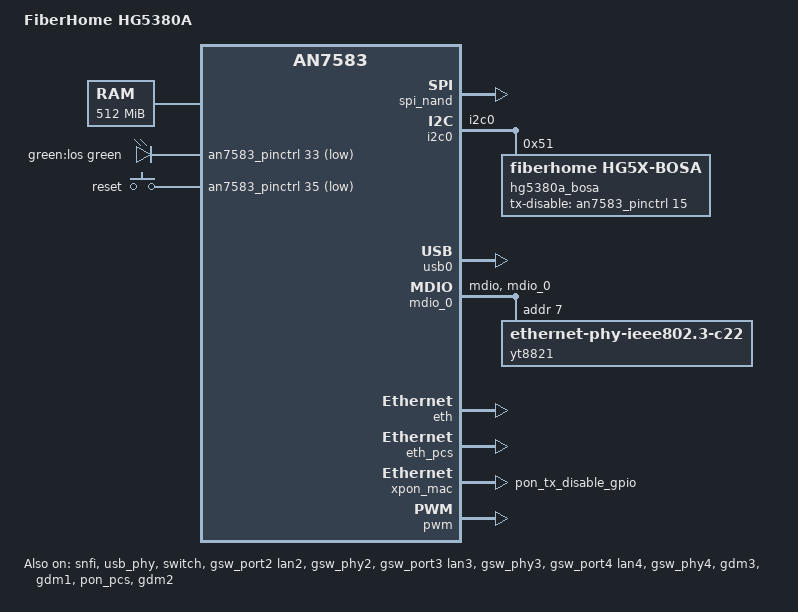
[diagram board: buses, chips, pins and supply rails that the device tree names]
// SPDX-License-Identifier: GPL-2.0-only OR MIT
/*
 * FiberHome HG5380A — Airoha AN7583
 *
 * 由原厂 KernelA 内 DTB（15704 字节，0x3100 处）反编译结果整理，
 * 结构参照 ponwrt 的 an7583-nokia_xg-040g-mf-common.dtsi 与
 * an7581-fiberhome-hg5382a.dts。
 *
 * TODO(上机确认)：
 *   1. reset 按键 GPIO（当前暂用 GPIO0，与原厂 DTS 的 gpio-keys 一致前需核实）
 *   2. LED 的 GPIO 与颜色（原厂 DTS 无 gpio-leds 节点，灯由用户态控制）
 *   3. 光模块 BOSA 的 I2C 地址（0x50/0x51）与 tx-disable 引脚（暂用 GPIO15）
 *   4. factory(UBI 卷 fhdata) 里 MAC/SN/校准的 nvmem 布局，未接上前 MAC 为随机
 *   5. 2.5G PHY EN8811H 的 MDIO 地址（暂用 0xf）与复位 GPIO（暂用 34）
 */
/dts-v1/;

/* Firmware/ATF 占用 DRAM 前 2 MiB。 */
/memreserve/ 0x80000000 0x200000;

#include <dt-bindings/gpio/gpio.h>
#include <dt-bindings/input/input.h>
#include <dt-bindings/leds/common.h>
#include "an7583.dtsi"

/ {
	model = "FiberHome HG5380A";
	compatible = "fiberhome,hg5380a", "airoha,an7583";

	aliases {
		serial0 = &uart1;
	};

	chosen {
		/*
		 * root= 指向 RootfsB(mtd5) 上的 squashfs。initramfs 镜像会
		 * 忽略这两个参数（内核优先跑 initramfs 里的 /init），
		 * 所以同一条 DTS 可以同时服务两种镜像。
		 */
		bootargs = "console=ttyS0,115200 earlycon swiotlb=noforce root=/dev/mtdblock6 rootfstype=squashfs rootwait";
		stdout-path = "serial0:115200n8";
	};

	memory@80000000 {
		device_type = "memory";
		reg = <0x0 0x80000000 0x0 0x20000000>;	/* 512 MiB */
	};

	/*
	 * 前面板共四个指示灯（无端口灯）：
	 *   电源    —— 硬件常亮，不受 GPIO 控制，DTS 里不配置
	 *   光信号  —— GPIO33，低有效，实测驱动它能点亮
	 *   光宽带  —— 原厂 DTB 里是 pwm-leds("pon:green", PWM 通道 10)，
	 *              本树还没有 PWM 控制器节点，暂不驱动
	 *   网络    —— 无任何 GPIO 能点亮，推测由交换芯片 PHY 的 LED 输出驱动
	 *
	 * 光信号灯用内核 PON 驱动注册的 pon0-los 触发器：无光时亮、有光时灭，
	 * 与设备原有的行为一致。
	 */
	leds {
		compatible = "gpio-leds";

		led_los: los {
			label = "green:los";
			function = LED_FUNCTION_WAN;
			color = <LED_COLOR_ID_GREEN>;
			gpios = <&an7583_pinctrl 33 GPIO_ACTIVE_LOW>;
			linux,default-trigger = "pon0-los";
		};
	};

	/*
	 * reset 键实测在 GPIO35（低有效）。
	 * 原厂 DTB 写的是 GPIO0，验证下来完全没反应；用探针扫过 0..38 之后，
	 * 只有 k35 的 IRQ 计数会随按键增长；PON 引脚(15~20) 已被占用需避开。
	 *
	 * 内核自带的 gpio-keys 驱动已通过 config-6.18 关掉，改由 OpenWrt 的
	 * gpio-button-hotplug 接管同名 compatible，按键才能触发 procd 动作
	 * （短按重启、长按恢复出厂、开机进 failsafe）。
	 */
	gpio-keys {
		compatible = "gpio-keys";

		button-reset {
			label = "reset";
			linux,code = <KEY_RESTART>;
			gpios = <&an7583_pinctrl 35 GPIO_ACTIVE_LOW>;
			debounce-interval = <60>;
		};
	};
};

&an7583_pinctrl {
	gpio-ranges = <&an7583_pinctrl 0 2 53>;

	pon_pins: pon-pins {
		mux {
			function = "pon";
			groups = "pon_tx_disable_gpio";
		};
	};

	mdio0_pins: mdio0-pins {
		mux {
			function = "mdio";
			groups = "mdio";
		};
		/*
		 * 与 Nokia XG-040G-MF / 官方 EVB 一致，只把 mdio_0 拉高。
		 * （原厂 DTB 这里写的是 "gpio2"，但原厂内核参数
		 *   internet_gpio=02 说明 GPIO2 是上网指示灯，与 PHY 无关，
		 *   故不跟随。）
		 */
		conf {
			pins = "mdio_0";
			output-high;
		};
	};

	i2c0_pins: i2c0-pins {
		mux {
			function = "i2c";
			groups = "i2c0";
		};
	};

	i2c1_pins: i2c1-pins {
		mux {
			function = "i2c";
			groups = "i2c1";
		};
	};

	/*
	 * LAN2~LAN4 的灯由交换机内部 PHY 直接驱动：把 gpio1/2/3/4 复用成
	 * phy1~phy4 的 led0 功能即可，PHY 自己按 link/activity 闪烁。
	 * 之前 DTS 里没有这组配置，内核一直在报
	 *   mdio_bus mt7530-0: Failed to setup PHY LED pinctrl
	 */
	spi_pins: spi-pins {
		mux {
			function = "spi";
			groups = "spi";
		};
	};
};

&snfi {
	status = "okay";
	pinctrl-names = "default";
	pinctrl-0 = <&spi_pins>;
};

&spi_nand {
	status = "okay";

	partitions {
		compatible = "fixed-partitions";
		#address-cells = <1>;
		#size-cells = <1>;

		partition@0 {
			label = "bootloader";
			reg = <0x0 0x280000>;
			read-only;
		};

		partition@280000 {
			label = "bootflag";
			reg = <0x280000 0x80000>;
		};

		partition@300000 {
			label = "KernelA";
			reg = <0x300000 0x600000>;
		};

		partition@900000 {
			label = "RootfsA";
			reg = <0x900000 0x2800000>;
		};

		partition@3100000 {
			label = "KernelB";
			reg = <0x3100000 0x600000>;
		};

		partition@3700000 {
			label = "RootfsB";
			reg = <0x3700000 0x2800000>;
		};

		/*
		 * 原厂 apps 占 104 MiB，OpenWrt 完全不用。切出前 32 MiB 保留
		 * 原厂数据（万一要回滚），其余 72 MiB 给 overlay 用：
		 * fstools 会按名字 "rootfs_data" 找到它并格式化成 ext4，
		 * 这样 /etc/config、密码、安装的包都能持久保存。
		 */
		partition@5f00000 {
			label = "apps";
			reg = <0x5f00000 0x2000000>;
		};

		partition@7f00000 {
			label = "rootfs_data";
			reg = <0x7f00000 0x4800000>;
		};

		partition@c700000 {
			label = "frameworka";
			reg = <0xc700000 0x1000000>;
		};

		partition@d700000 {
			label = "frameworkb";
			reg = <0xd700000 0x1000000>;
		};

		/*
		 * 原厂 factory 是 UBI 单卷 "fhdata"（UBIFS），里面是 UCI 配置：
		 * factory_conf（brmac 等）、sysinfo_conf，以及光模块校准表。
		 * 原厂脚本就是这么用的：
		 *     uci -q -c /fhdata get factory_conf.pon_mode.value
		 *     mount -t ubifs -o ro,sync ubi1_0 /fhdata
		 *
		 * 加 compatible = "linux,ubi" 让内核开机自动 attach，出现
		 * /dev/ubi0 和卷设备，用户态即可只读挂载查看 MAC/SN/校准。
		 * 分区保持 read-only：这里面的数据是这台机器唯一的一份。
		 */
		partition@e700000 {
			label = "factory";
			reg = <0xe700000 0x500000>;
			read-only;
			compatible = "linux,ubi";

			volumes {
				ubi_fhdata: ubi-volume-fhdata {
					volname = "fhdata";
				};
			};
		};

		/*
		 * BOSA 校准表存放区。0xEC00000 紧接 factory(0xe700000+0x500000)
		 * 之后，属于 256 MiB flash 里未分配的 20 MiB，不与任何原厂分区
		 * 重叠。整块 128 KiB 擦除，只写前 0x800 字节。
		 */
		partition@ec00000 {
			label = "bosacal";
			reg = <0xec00000 0x20000>;
			compatible = "nvmem-cells";
			#address-cells = <1>;
			#size-cells = <1>;

			bosa_calibration: calibration@0 {
				reg = <0x0 0x800>;
			};
		};

		/*
		 * 出厂身份数据（从 factory 的 fhdata 卷里取出来的原值）：
		 *
		 *   0x00  base MAC       24:E3:A4:00:33:6C   (factory_conf.brmac)
		 *   0x06  LAN/2.5G MAC   24:E3:A4:00:33:6D   (brmac+1，保证前三字节一致)
		 *   0x0C  PON SN         46 48 54 54 C1 F0 BA 75  → "FHTT" (GponSN)
		 *
		 * 内核在 probe 阶段就能读到，所以 airoha_eth 的 FE 硬件转发
		 * 不会再因为随机 MAC 而被关掉；xpon 也能直接拿到注册序列号。
		 */
		partition@ec20000 {
			label = "identity";
			reg = <0xec20000 0x20000>;
			compatible = "nvmem-cells";
			#address-cells = <1>;
			#size-cells = <1>;

			fh_base_mac: mac-address@0 {
				reg = <0x0 0x6>;
			};

			fh_lan_mac: mac-address@6 {
				reg = <0x6 0x6>;
			};

			fh_pon_serial: pon-serial@c {
				reg = <0xc 0x8>;
			};

			/* factory_conf.ponmac，与原厂一致与 brmac 同值 */
			fh_pon_mac: mac-address@14 {
				reg = <0x14 0x6>;
			};
		};
	};
};

&i2c0 {
	/*
	 * an7583.dtsi 里 i2c0 默认 disabled，必须显式打开，否则 BOSA
	 * 不会注册成 i2c client，xpon 会一直等 optical frontend provider。
	 */
	status = "okay";
	pinctrl-names = "default";
	pinctrl-0 = <&i2c0_pins>;

	/*
	 * 光模块到底是哪颗，现在有明确证据了 —— 原厂 userfs 的
	 * /fhrom/fhshell/fhdrv_bosa_driver_init.sh 是这样判断的：
	 *
	 *   bosa_driver=`i2c_debug getchipid`
	 *   0x28 -> table.gn28l95   0x98 -> table.gn28l98
	 *   0x2e -> table.ux3361    0x96 -> table.gn25l96
	 *   0x20 -> table.ux3320    0x02 -> table.ux3322
	 *
	 *   i2c_debug write 0x51 0x7f 0x01 0x80     # 选页
	 *   i2c_debug read  0x51 0xA4 0x01
	 *
	 * 也就是说：地址 0x51、分页寄存器 0x7f、型号靠读 chip id 区分，
	 * 全部是 GN/UX 系列，压根没有 EN7572。上一版挂 airoha,en7572 在
	 * 0x50 上探测 0x51 读回 0x0000（chip ID 不匹配），是选错了驱动。
	 *
	 * 本轮先 status = "disabled"：让 0x50/0x51 完全空出来，用 i2cdetect
	 * 确认这颗 BOSA 到底挂在 i2c0 还是 i2c1 上、真正应答的地址是哪个，
	 * 再决定挂 airoha-paged-bosa（支持 GN28L95 / UX3363）还是需要新增
	 * GN28L98 / UX3361 的变体。xpon_mac 的 phandle 保留，编译期可解析。
	 */
	hg5380a_bosa: optical-front-end@51 {
		compatible = "fiberhome,hg5x-bosa", "airoha,paged-bosa";
		reg = <0x51>;

		/* 原厂：phy_tx_power_disable = GPIO15，默认拉高（关发射） */
		fiberhome,ben-active-high;
		tx-disable-gpios = <&an7583_pinctrl 15 GPIO_ACTIVE_HIGH>;

		/*
		 * 出厂校准表（2048 字节，FiberHome BDBOB 容器）。
		 * 没有它 BOSA 的接收均衡器保持默认，眼图为空 —— 实测表现就是
		 * SerDes 频率锁定（freqdet_locked=1）但 xgtc_sync 一直 hunt。
		 * 表由 U-Boot 从 fhdata 卷取出写到 bosacal 分区，见下方
		 * partition@ec00000。内核只读。
		 */
		nvmem-cells = <&bosa_calibration>;
		nvmem-cell-names = "calibration";
		status = "okay";
	};
};

/*
 * 上机实测 i2cdetect -y 0 在 0x50 / 0x51 都有应答，i2c1 全空（还刷了一屏
 * 超时日志）。所以 BOSA 在 i2c0 上，i2c1 关掉，先不折腾。
 */
&i2c1 {
	status = "disabled";
};

/*
 * USB：an7583.dtsi 里 usb_phy / usb0 同样默认 disabled，
 * 不启用的话 /sys/bus/usb/devices/ 是空的（连根 hub 都没有）。
 */
&usb_phy {
	status = "okay";
};

&usb0 {
	status = "okay";
};

&mdio_0 {
	pinctrl-names = "default";
	pinctrl-0 = <&mdio0_pins>;

	/*
	 * 2.5G PHY = Motorcomm YT8821，MDIO 地址 0x07。
	 *
	 * 上机实测（全总线扫描 + 32 个寄存器 dump + 写回测试）：
	 *
	 *   dump 07: 00=1040 01=7949 02=4f51 03=ea19 04=11e1 06=0064 07=2001
	 *            09=0200 0f=2000 10=0062 14=082c 1f=4c8d
	 *   wtest 07: bmcr 1040 -> 5040 loopback=STUCK      <- 写得进去，真芯片
	 *
	 * 0x4f51ea19 正是主线 drivers/net/phy/motorcomm.c 里的
	 *
	 *   #define PHY_ID_YT8821  0x4f51ea19
	 *   { PHY_ID_MATCH_EXACT(PHY_ID_YT8821), .name = "YT8821 2.5Gbps PHY" }
	 *
	 * 之前当成 Airoha EN8811H（ID 0x03a2a411）来搞，方向就是错的：0x0f 上
	 * 根本没有芯片（原厂 U-Boot 也报过 "Could not get PHY ... addr 15"），
	 * EN8811H 灌固件那 7.5 秒超时纯属白等。
	 *
	 * 用 "ethernet-phy-ieee802.3-c22" 让内核自己读硬件 ID，读回
	 * 0x4f51ea19 就会绑上 motorcomm 驱动。这颗 PHY 上电即可应答，不需要
	 * 复位脚（GPIO34 上做过复位，0x0f 与 0x07 都没有变化，说明与它无关）。
	 */
	yt8821: ethernet-phy@7 {
		compatible = "ethernet-phy-ieee802.3-c22";
		reg = <0x7>;
	};
};

&switch {
	status = "okay";
	/*
	 * 这里不要写 pinctrl-0 = <&mdio0_pins>：mdio0_pins 已归 mdio_0 所有，
	 * 同一个 pin group 被两个设备申请时第二个会被拒绝（-EINVAL），
	 * switch 会探测失败，内部 GSW 端口全没了，EN8811H 也就无从探测。
	 */
};



&gsw_port2 {
	status = "okay";
	label = "lan2";
};

&gsw_phy2 {
	status = "okay";
	interrupts = <2>;

};


&gsw_port3 {
	status = "okay";
	label = "lan3";
};

&gsw_phy3 {
	status = "okay";
	interrupts = <3>;

};


&gsw_port4 {
	status = "okay";
	label = "lan4";
};

&gsw_phy4 {
	status = "okay";
	interrupts = <4>;

};


&gdm3 {
	status = "okay";
	openwrt,netdev-name = "lan1";
	phy-handle = <&yt8821>;
	phy-mode = "2500base-x";

	nvmem-cells = <&fh_lan_mac>;
	nvmem-cell-names = "mac-address";
};

/*
 * gdm1 是 GSW 交换机的 CPU 口（switch 的 port@6 用 ethernet = <&gdm1>）。
 *
 * 不启用它的话，DSA 在 dsa_register_switch() 里走到
 *
 *     conduit = dsa_port_to_conduit(dp);
 *     if (!conduit)
 *             return -EPROBE_DEFER;      // net/dsa/dsa.c:1259
 *
 * 因为 CPU 口的 conduit 网卡永远不出现，switch 会永久 deferred probe：
 *
 *     platform 1fb58000.switch: deferred probe pending: (reason unknown)
 *
 * 结果不仅 lan2~lan4 没有，连 switch 自己的 mdio 总线（内部 PHY 9~12）
 * 也不会注册，外部 PHY 也跟着受影响。
 */
&gdm1 {
	status = "okay";

	/* 交换机 CPU 口用出厂 base MAC，FE 硬件转发要求它与 gdm3 前三字节一致 */
	nvmem-cells = <&fh_base_mac>;
	nvmem-cell-names = "mac-address";
};

&eth {
	status = "okay";
};

/*
 * AN7583 NPU（硬件转发加速）—— 暂时关闭。
 *
 * 上机实测：status = "okay" 时内核日志停在
 *
 *   [    1.793156] airoha-npu 1e900000.npu: NOTICE:  Get secure key in flash
 *
 * 之后再无任何输出，看门狗复位，系统起不来。这是 NPU 驱动在从 flash 读
 * secure key 之后挂死，与以太网/PHY 无关。
 *
 * 对比历史版本也印证这一点：run17（NPU 关闭）能进用户态，run20（NPU 打开）
 * 从未引导成功。等 LAN/PON 验证完再单独调 NPU，不要让它挡住主线。
 */
&npu {
	status = "disabled";
};

&pon_pcs {
	status = "okay";
};

/*
 * eth_pcs 是 HSGMII/2.5G 那条 lane 的 PCS（pcs@1fa09000），gdm3 里写着
 *
 *     gdm3: ethernet@3 { pcs-handle = <&eth_pcs>; airoha,gdm-srcport = <0x16>; }
 *
 * an7583.dtsi 默认 disabled。不打开它，gdm3 拿不到 PCS，lan1 的 MAC 侧
 * 就算 PHY 认出来了也起不来 —— 这一条之前一直漏着。
 */
&eth_pcs {
	status = "okay";
};

&xpon_mac {
	/*
	 * PON 引脚复用必须保留：pon_tx_disable_gpio 组会把 15/16/18/19/20
	 * 复用成 PON 功能。撤掉这组复用后，PON 的接收引脚浮空，收侧会把
	 * 噪声误判成光信号（表现为反复 recovery、永远 optical signal present）。
	 *
	 * 代价：该组包含 gpio18，所以"光宽带"灯的 PWM（gpio18）暂时用不了。
	 * 若要两者兼得，需要给 pinctrl-an7583.c 打补丁把这个组里的 18 去掉。
	 */
	pinctrl-names = "default";
	pinctrl-0 = <&pon_pins>;
	/*
	 * 光学前端指向 0x51 的 paged BOSA（fiberhome,hg5x-bosa）。本轮该节点
	 * status = "disabled"，只做 i2c 扫描探测；确认芯片型号后再改成 okay。
	 */
	optical-front-end = <&hg5380a_bosa>;
	data-path = <&gdm2>;

	/* GponSN = 46485454C1F0BA75（"FHTT" + C1F0BA75），注册用 */
	nvmem-cells = <&fh_pon_serial>;
	nvmem-cell-names = "pon-serial";
	status = "okay";
};

&gdm2 {
	airoha,pon-data-path;
	status = "okay";

	nvmem-cells = <&fh_pon_mac>;
	nvmem-cell-names = "mac-address";
};

/*
 * an7583.dtsi 给 CPU 挂了 operating-points-v2（含 required-opps + genpd），
 * 6.18 的 dt_cpufreq 解析这张表时会踩野指针直接 panic：
 *
 *   pc : __pi_strcmp
 *   _of_add_table_indexed -> dev_pm_opp_of_cpumask_add_table -> dt_cpufreq_probe
 *
 * 这颗 SoC 目前不需要动态调频，直接把 OPP 引用摘掉，让 cpufreq 干净地放弃。
 * 同时 config-6.18 里也关了 CONFIG_CPUFREQ_DT / ARM_AIROHA_SOC_CPUFREQ。
 */
&cpu0 {
	/delete-property/ operating-points-v2;
};

&cpu1 {
	/delete-property/ operating-points-v2;
};

&cpufreq {
	/delete-property/ operating-points-v2;
	status = "disabled";
};

/*
 * 光宽带指示灯：GPIO18 复用成 PWM 功能，PWM 通道 10 驱动。
 * 参数取自本机原厂 DTB（pwmleds "pon:green", pwms = <&pwm 10 0x3d0900 1>）。
 * 挂 pon0-registration 触发器：注册过程 O1~O3 快闪、O4 慢闪、O5 常亮。
 */
&an7583_pinctrl {
	pwm_gpio18_pins: pwm-gpio18-pins {
		mux {
			function = "pwm";
			pins = "gpio18";
			output-enable;
		};
	};
};

/*
 * PWM 控制器是 system-controller@1fbf0200（syscon）的子节点：
 * 驱动用 device_node_to_regmap(dev->parent) 拿寄存器，所以**不能**写在顶层，
 * 也**不能**带 reg（带了就会 probe 失败，表现为 error -12）。
 */
&{/soc/system-controller@1fbf0200} {
	pwm: pwm {
		compatible = "airoha,en7581-pwm";
		#pwm-cells = <3>;
		status = "okay";
	};
};

/ {
	pwmleds {
		compatible = "pwm-leds";
		pinctrl-names = "default";
		pinctrl-0 = <&pwm_gpio18_pins>;
		/* gpio18 已被 PON 引脚组占用，等 pinctrl 补丁处理好再启用 */
		status = "disabled";

		led_pon: pon {
			label = "green:pon";
			function = LED_FUNCTION_WAN;
			color = <LED_COLOR_ID_GREEN>;
			pwms = <&pwm 10 4000000 1>;
			max-brightness = <255>;
			linux,default-trigger = "pon0-registration";
		};
	};
};
